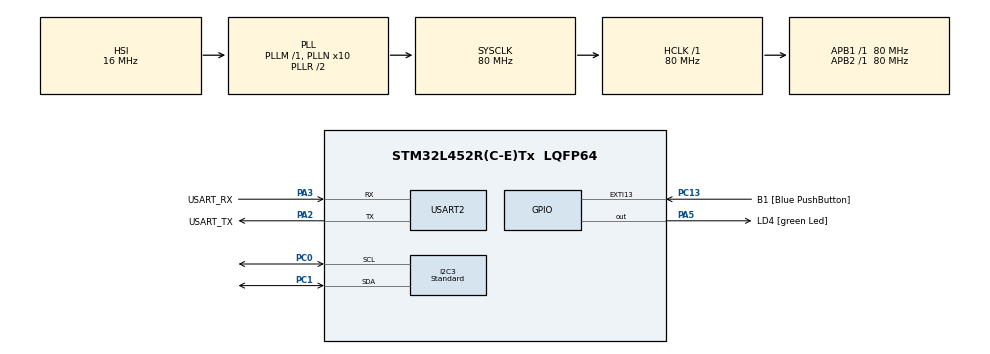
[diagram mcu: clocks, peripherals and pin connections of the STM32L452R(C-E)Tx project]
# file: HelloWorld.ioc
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I2C3.I2C_Speed_Mode=I2C_Standard
I2C3.Timing=0x10909CEC
Mcu.Family=STM32L4
Mcu.Name=STM32L452R(C-E)Tx
Mcu.Package=LQFP64
NVIC.PriorityGroup=NVIC_PRIORITYGROUP_4
PA13\ (JTMS/SWDIO).GPIO_Label=TMS
PA13\ (JTMS/SWDIO).Mode=Serial_Wire
PA13\ (JTMS/SWDIO).Signal=SYS_JTMS-SWDIO
PA14\ (JTCK/SWCLK).GPIO_Label=TCK
PA14\ (JTCK/SWCLK).Mode=Serial_Wire
PA14\ (JTCK/SWCLK).Signal=SYS_JTCK-SWCLK
PA2.GPIO_Label=USART_TX
PA2.GPIO_Mode=GPIO_MODE_AF_PP
PA2.GPIO_PuPd=GPIO_NOPULL
PA2.GPIO_Speed=GPIO_SPEED_FREQ_VERY_HIGH
PA2.Mode=Asynchronous
PA2.Signal=USART2_TX
PA3.GPIO_Label=USART_RX
PA3.GPIO_Mode=GPIO_MODE_AF_PP
PA3.GPIO_PuPd=GPIO_NOPULL
PA3.GPIO_Speed=GPIO_SPEED_FREQ_VERY_HIGH
PA3.Mode=Asynchronous
PA3.Signal=USART2_RX
PA5.GPIO_Label=LD4 [green Led]
PA5.GPIO_ModeDefaultOutputPP=GPIO_MODE_OUTPUT_PP
PA5.GPIO_PuPd=GPIO_NOPULL
PA5.GPIO_Speed=GPIO_SPEED_FREQ_LOW
PA5.Signal=GPIO_Output
PB3\ (JTDO/TRACESWO).GPIO_Label=SWO
PB3\ (JTDO/TRACESWO).Signal=SYS_JTDO-SWO
PC0.Mode=I2C
PC0.Signal=I2C3_SCL
PC1.Mode=I2C
PC1.Signal=I2C3_SDA
PC13.GPIO_Label=B1 [Blue PushButton]
PC13.GPIO_ModeDefaultEXTI=GPIO_MODE_IT_FALLING
PC13.GPIO_PuPd=GPIO_NOPULL
PC13.Signal=GPXTI13
PC14-OSC32_IN\ (PC14).Mode=LSE-External-Oscillator
PC14-OSC32_IN\ (PC14).Signal=RCC_OSC32_IN
PC15-OSC32_OUT\ (PC15).Mode=LSE-External-Oscillator
PC15-OSC32_OUT\ (PC15).Signal=RCC_OSC32_OUT
PH0-OSC_IN\ (PH0).Signal=RCC_OSC_IN
PH1-OSC_OUT\ (PH1).Signal=RCC_OSC_OUT
ProjectManager.HeapSize=0x200
ProjectManager.StackSize=0x400
ProjectManager.TargetToolchain=STM32CubeIDE
RCC.ADCFreq_Value=64000000
RCC.AHBFreq_Value=80000000
RCC.APB1Freq_Value=80000000
RCC.APB1TimFreq_Value=80000000
RCC.APB2Freq_Value=80000000
RCC.APB2TimFreq_Value=80000000
RCC.CortexFreq_Value=80000000
RCC.HCLKFreq_Value=80000000
RCC.HSE_VALUE=8000000
RCC.HSI48_VALUE=48000000
RCC.HSI_VALUE=16000000
RCC.MSI_VALUE=4000000
RCC.PLLN=10
RCC.PLLSourceVirtual=RCC_PLLSOURCE_HSI
RCC.PREFETCH_ENABLE=1
RCC.SYSCLKFreq_VALUE=80000000
RCC.SYSCLKSource=RCC_SYSCLKSOURCE_PLLCLK
RCC.USBFreq_Value=64000000
RCC.VCOOutputFreq_Value=160000000
USART2.VirtualMode-Asynchronous=VM_ASYNC
board=NUCLEO-L452RE

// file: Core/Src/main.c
/* USER CODE BEGIN Header */
/**
 ******************************************************************************
 * @file           : main.c
 * @brief          : Main program body
 ******************************************************************************
 * @attention
 *
 * Copyright (c) 2022 STMicroelectronics.
 * All rights reserved.
 *
 * This software is licensed under terms that can be found in the LICENSE file
 * in the root directory of this software component.
 * If no LICENSE file comes with this software, it is provided AS-IS.
 *
 ******************************************************************************
 */
/* USER CODE END Header */

#include <cmsis_gcc.h>
#include <main.h>
#include <stm32l452xx.h>
#include <stm32l4xx_hal_def.h>
#include <stm32l4xx_hal_flash.h>
#include <stm32l4xx_hal_gpio.h>
#include <stm32l4xx_hal_i2c.h>
#include <stm32l4xx_hal_i2c_ex.h>
#include <stm32l4xx_hal_pwr_ex.h>
#include <stm32l4xx_hal_rcc.h>
#include <stm32l4xx_hal_uart.h>
#include <stm32l4xx_hal_uart_ex.h>
#include <string.h>
#include <sys/_stdint.h>

#include "../../Drivers/AS7341_Driver/Waveshare_AS7341.h"

/* USER CODE END Includes */

I2C_HandleTypeDef hi2c3;

UART_HandleTypeDef huart2;

/* USER CODE BEGIN PV */
static const uint8_t AS7341_ADDR = 0x39 << 1; //Use 8 bit adress
static const uint8_t CH0_Data_L = 0x61;
static const uint8_t CH0_Data_H = 0x62;

static const uint8_t INTEGRATION_TIME_COUNT[1] = { 100 };
static const uint16_t INTEGRATION_TIME_SIZE[1] = { 999 };
/* USER CODE END PV */

void SystemClock_Config(void);
static void MX_GPIO_Init(void);
static void MX_USART2_UART_Init(void);
static void MX_I2C3_Init(void);
/* USER CODE BEGIN PFP */
#define PUTCHAR_PROTOTYPE int __io_putchar(int ch)
/* USER CODE END PFP */

int main(void) {
	/* USER CODE BEGIN 1 */
	HAL_StatusTypeDef ret;
	uint8_t buf[12]; // For UART
	uint16_t val_channel0;

	/* USER CODE END 1 */

	/* MCU Configuration--------------------------------------------------------*/

	/* Reset of all peripherals, Initializes the Flash interface and the Systick. */
	HAL_Init();

	/* Configure the system clock */
	SystemClock_Config();

	/* Initialize all configured peripherals */
	MX_GPIO_Init();
	MX_USART2_UART_Init();
	MX_I2C3_Init();
	/* USER CODE BEGIN 2 */
	AS7341_Init(eSpm);
	AS7341_ATIME_config(100);
	AS7341_ASTEP_config(999);
	AS7341_AGAIN_config(6);

	/* USER CODE END 2 */

	/* Infinite loop */
	/* USER CODE BEGIN WHILE */
	while (1) {
		//	strcpy((char*) buf, "Startup\r\n");
		//HAL_UART_Transmit(&huart2, buf, strlen((char*) buf), HAL_MAX_DELAY);

		sModeOneData_t data1;
		sModeTwoData_t data2;
		AS7341_startMeasure(eF1F4ClearNIR);
		data1 = AS7341_ReadSpectralDataOne();
		printf("channel1(405-425nm):\r\n");
		printf("%d\r\n", data1.channel1);
		printf("channel2(435-455nm):\r\n");
		printf("%d\r\n", data1.channel2);
		printf("channel3(470-490nm):\r\n");
		printf("%d\r\n", data1.channel3);
		printf("channel4(505-525nm):\r\n");
		printf("%d\r\n", data1.channel4);
		AS7341_startMeasure(eF5F8ClearNIR);
		data2 = AS7341_ReadSpectralDataTwo();
		printf("channel5(545-565nm):\r\n");
		printf("%d\r\n", data2.channel5);
		printf("channel6(580-600nm):\r\n");
		printf("%d\r\n", data2.channel6);
		printf("channel7(620-640nm):\r\n");
		printf("%d\r\n", data2.channel7);
		printf("channel8(670-690nm):\r\n");
		printf("%d\r\n", data2.channel8);
		printf("Clear:\r\n");
		printf("%d\r\n", data2.CLEAR);
		printf("NIR:\r\n");
		printf("%d\r\n", data2.NIR);
		printf("--------------------------\r\n");
		DEV_Delay_ms(500);

//		// Start Powerup
//		buf[0] = 1;
//		ret = HAL_I2C_Mem_Write(&hi2c3, AS7341_ADDR, AS7341_ENABLE,
//		I2C_MEMADD_SIZE_8BIT, buf, 1, 200);
//		if (ret != HAL_OK) {
//			strcpy((char*) buf, "Error PON\r\n");
//		}
//		// End Powerup
//
//		// Start Set Integration Time step count
//		ret = HAL_I2C_Mem_Write(&hi2c3, AS7341_ADDR, AS7341_ATIME,
//		I2C_MEMADD_SIZE_8BIT, (uint8_t *)INTEGRATION_TIME_COUNT, 1, 200);
//		if (ret != HAL_OK) {
//			strcpy((char*) buf, "Error Set Int.Time count\r\n");
//		}
//		// End Set Integration Time step count
//
//		//	Start Set the Integration Time step size
//		ret = HAL_I2C_Mem_Write(&hi2c3, AS7341_ADDR, AS7341_ASTEP_L,
//		I2C_MEMADD_SIZE_8BIT, INTEGRATION_TIME_SIZE, 2, 200);
//		if (ret != HAL_OK) {
//			strcpy((char*) buf, "Error Set Int.Time size\r\n");
//		}

		// Stop Set the Integration Time step size

//		buf[0] = CH0_Data_L;
//		ret = HAL_I2C_Master_Transmit(&hi2c3, AS7341_ADDR, buf, 1,
//		1000);
//		if (ret != HAL_OK) {
//			strcpy((char*) buf, "Error Tx\r\n");
//		} else {
//			ret = HAL_I2C_Master_Receive(&hi2c3, AS7341_ADDR, buf, 2,
//			1000);
//			if (ret != HAL_OK) {
//				strcpy((char*) buf, "Error Rx\r\n");
//			} else {
//				// Combine the bytes
//				val_channel0 = ((uint16_t) buf[0] << 4) | buf[1] >> 4;
//
//			}
//
//			// Convert value to string
//			sprintf((char*)buf,"%d",val_channel0);
//
//		}

		//strcpy((char*) buf, "Hello! \r\n");
		//HAL_UART_Transmit(&huart2, buf, strlen((char*) buf), HAL_MAX_DELAY);
		//HAL_Delay(500);

		HAL_GPIO_TogglePin(LD4_GPIO_Port, LD4_Pin);
		//HAL_Delay(1000);
		/* USER CODE END WHILE */

	}
}

void SystemClock_Config(void) {
	RCC_OscInitTypeDef RCC_OscInitStruct = { 0 };
	RCC_ClkInitTypeDef RCC_ClkInitStruct = { 0 };

	/** Configure the main internal regulator output voltage
	 */
	if (HAL_PWREx_ControlVoltageScaling(PWR_REGULATOR_VOLTAGE_SCALE1)
			!= HAL_OK) {
		Error_Handler();
	}

	/** Initializes the RCC Oscillators according to the specified parameters
	 * in the RCC_OscInitTypeDef structure.
	 */
	RCC_OscInitStruct.OscillatorType = RCC_OSCILLATORTYPE_HSI;
	RCC_OscInitStruct.HSIState = RCC_HSI_ON;
	RCC_OscInitStruct.HSICalibrationValue = RCC_HSICALIBRATION_DEFAULT;
	RCC_OscInitStruct.PLL.PLLState = RCC_PLL_ON;
	RCC_OscInitStruct.PLL.PLLSource = RCC_PLLSOURCE_HSI;
	RCC_OscInitStruct.PLL.PLLM = 1;
	RCC_OscInitStruct.PLL.PLLN = 10;
	RCC_OscInitStruct.PLL.PLLP = RCC_PLLP_DIV7;
	RCC_OscInitStruct.PLL.PLLQ = RCC_PLLQ_DIV2;
	RCC_OscInitStruct.PLL.PLLR = RCC_PLLR_DIV2;
	if (HAL_RCC_OscConfig(&RCC_OscInitStruct) != HAL_OK) {
		Error_Handler();
	}

	/** Initializes the CPU, AHB and APB buses clocks
	 */
	RCC_ClkInitStruct.ClockType = RCC_CLOCKTYPE_HCLK | RCC_CLOCKTYPE_SYSCLK
			| RCC_CLOCKTYPE_PCLK1 | RCC_CLOCKTYPE_PCLK2;
	RCC_ClkInitStruct.SYSCLKSource = RCC_SYSCLKSOURCE_PLLCLK;
	RCC_ClkInitStruct.AHBCLKDivider = RCC_SYSCLK_DIV1;
	RCC_ClkInitStruct.APB1CLKDivider = RCC_HCLK_DIV1;
	RCC_ClkInitStruct.APB2CLKDivider = RCC_HCLK_DIV1;

	if (HAL_RCC_ClockConfig(&RCC_ClkInitStruct, FLASH_LATENCY_4) != HAL_OK) {
		Error_Handler();
	}
}

static void MX_I2C3_Init(void) {

	hi2c3.Instance = I2C3;
	hi2c3.Init.Timing = 0x10909CEC;
	hi2c3.Init.OwnAddress1 = 0;
	hi2c3.Init.AddressingMode = I2C_ADDRESSINGMODE_7BIT;
	hi2c3.Init.DualAddressMode = I2C_DUALADDRESS_DISABLE;
	hi2c3.Init.OwnAddress2 = 0;
	hi2c3.Init.OwnAddress2Masks = I2C_OA2_NOMASK;
	hi2c3.Init.GeneralCallMode = I2C_GENERALCALL_DISABLE;
	hi2c3.Init.NoStretchMode = I2C_NOSTRETCH_DISABLE;
	if (HAL_I2C_Init(&hi2c3) != HAL_OK) {
		Error_Handler();
	}

	/** Configure Analogue filter
	 */
	if (HAL_I2CEx_ConfigAnalogFilter(&hi2c3, I2C_ANALOGFILTER_ENABLE)
			!= HAL_OK) {
		Error_Handler();
	}

	/** Configure Digital filter
	 */
	if (HAL_I2CEx_ConfigDigitalFilter(&hi2c3, 0) != HAL_OK) {
		Error_Handler();
	}

}

static void MX_USART2_UART_Init(void) {

	huart2.Instance = USART2;
	huart2.Init.BaudRate = 115200;
	huart2.Init.WordLength = UART_WORDLENGTH_8B;
	huart2.Init.StopBits = UART_STOPBITS_1;
	huart2.Init.Parity = UART_PARITY_NONE;
	huart2.Init.Mode = UART_MODE_TX_RX;
	huart2.Init.HwFlowCtl = UART_HWCONTROL_NONE;
	huart2.Init.OverSampling = UART_OVERSAMPLING_16;
	huart2.Init.OneBitSampling = UART_ONE_BIT_SAMPLE_DISABLE;
	huart2.AdvancedInit.AdvFeatureInit = UART_ADVFEATURE_NO_INIT;
	if (HAL_UART_Init(&huart2) != HAL_OK) {
		Error_Handler();
	}

}

static void MX_GPIO_Init(void) {
	GPIO_InitTypeDef GPIO_InitStruct = { 0 };

	/* GPIO Ports Clock Enable */
	__HAL_RCC_GPIOC_CLK_ENABLE();
	__HAL_RCC_GPIOH_CLK_ENABLE();
	__HAL_RCC_GPIOA_CLK_ENABLE();
	__HAL_RCC_GPIOB_CLK_ENABLE();

	/*Configure GPIO pin Output Level */
	HAL_GPIO_WritePin(LD4_GPIO_Port, LD4_Pin, GPIO_PIN_RESET);

	/*Configure GPIO pin : B1_Pin */
	GPIO_InitStruct.Pin = B1_Pin;
	GPIO_InitStruct.Mode = GPIO_MODE_IT_FALLING;
	GPIO_InitStruct.Pull = GPIO_NOPULL;
	HAL_GPIO_Init(B1_GPIO_Port, &GPIO_InitStruct);

	/*Configure GPIO pin : LD4_Pin */
	GPIO_InitStruct.Pin = LD4_Pin;
	GPIO_InitStruct.Mode = GPIO_MODE_OUTPUT_PP;
	GPIO_InitStruct.Pull = GPIO_NOPULL;
	GPIO_InitStruct.Speed = GPIO_SPEED_FREQ_LOW;
	HAL_GPIO_Init(LD4_GPIO_Port, &GPIO_InitStruct);

}

/* USER CODE BEGIN 4 */
/**
 * @brief  Retargets the C library printf function to the USART.
 * @param  None
 * @retval None
 */
PUTCHAR_PROTOTYPE {
	/* Place your implementation of fputc here */
	/* e.g. write a character to the USART1 and Loop until the end of transmission */
	HAL_UART_Transmit(&huart2, (uint8_t*) &ch, 1, 0xFFFF);

	return ch;
}

/* USER CODE END 4 */

void Error_Handler(void) {
	__disable_irq();
	while (1) {
	}
}
